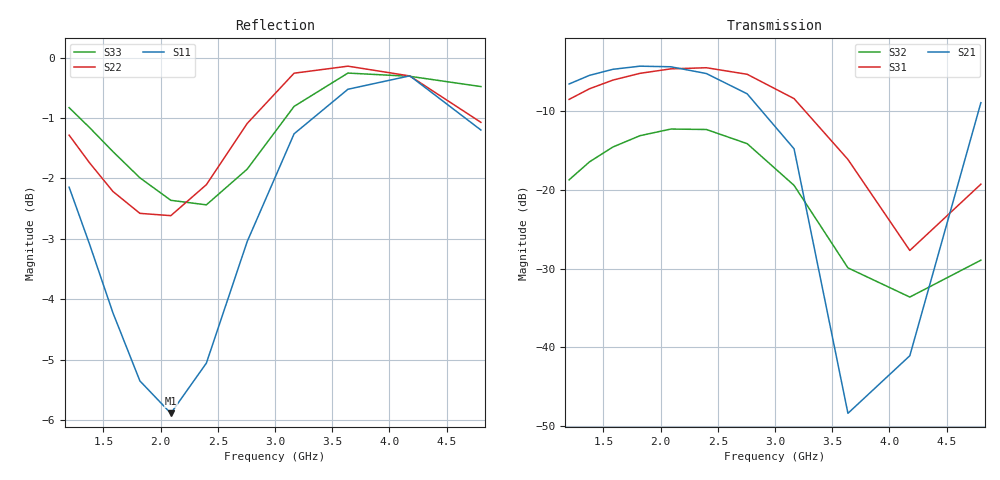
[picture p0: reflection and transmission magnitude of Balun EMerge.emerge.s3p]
! Generated by circuitRF - EM: EMerge
! circuitRF-EM setup: Balun EMerge
! circuitRF-EM layout: Balun.c3d
! circuitRF-EM written: 2026-11-15 23:48:30Z
! circuitRF-EM stamp: 20261115T234830Z-12be2866
! circuitRF-EM geometry: 35056368fe152479
! circuitRF-EM mesh settings: 72fb7a5ae77a5731
! circuitRF-EM ports: d404ed448d50c0b0
! circuitRF-EM model: EMerge 3.0.0
! Port[1] = P1
! Port[2] = P2
! Port[3] = P3
! circuitRF-EM port 1: 'port/1' from 'U1/Bottom Copper (1 oz)/1' to 'U1/Top Copper (1 oz)/3', lumped, 50 Ohm
! circuitRF-EM port 2: 'port/2' from 'U1/Bottom Copper (1 oz)/1' to 'U1/Top Copper (1 oz)/1', lumped, 50 Ohm
! circuitRF-EM port 3: 'port/3' from 'U1/Bottom Copper (1 oz)/1' to 'U1/Top Copper (1 oz)/2', lumped, 50 Ohm
! Port 1 = P01  P1  net=?  ref=U1/Bottom Copper (1 oz)/1  uncalibrated
! Port 2 = P02  P2  net=?  ref=U1/Bottom Copper (1 oz)/1  uncalibrated
! Port 3 = P03  P3  net=?  ref=U1/Bottom Copper (1 oz)/1  uncalibrated
! DC: none, the lowest row is 1.2 GHz; a circuit's DC solve through this file takes that row as DC
! circuitRF-EM 3D mesh: 30992 tetrahedra, element order 2
! circuitRF-EM 3D operating temperature: 20 C
! circuitRF-EM 3D run: preset Standard; 30992 tetrahedra; 212444 unknowns; adaptive sweep, 12 frequency sample(s), estimated error 4.76E-05
! circuitRF-EM 3D run cost: wall 108 s; EMerge peak memory 4.0 GB
! circuitRF-EM: re-running the EM setup rewrites this file. If circuitRF reports it as stale, the layout's cross-section changed after this file was written.
# GHz S RI R 50
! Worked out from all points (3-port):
!   11 points, 1.2 GHz to 4.8 GHz, reference 50 ohm
!   strongest paths, dB at 1.2 GHz, 1.583 GHz, 2.4 GHz, 3.638 GHz, 4.8 GHz:
!     S21: -6.5, -4.7, -5.2, -48.4, -8.9
!     S31: -8.5, -6.0, -4.5, -16.1, -19.3
!     S32: -18.7, -14.5, -12.3, -29.9, -28.9
!   lowest |S11| = -5.9 dB at 2.089 GHz (marker M1), VSWR 3.06, Z = 83.8 - j68.5 ohm
!   |S11| at or under -10 dB: nowhere
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1.2  -0.4789 0.6173  -0.4701 -0.0296  0.3757 0.0134
     -0.4701 -0.0297  0.4191 0.754  -0.00683 0.1156
     0.3757 0.0134  -0.00681 0.1156  0.448 0.7909
1.583409  0.3134 0.5291  -0.3929 0.4319  0.3195 -0.383
          -0.3931 0.4318  0.6953 0.3421  0.1405 0.1239
          0.3195 -0.3829  0.1406 0.1239  0.7687 0.3286
1.81886  0.5196 0.148  -0.1289 0.5974  0.0871 -0.5433
         -0.1291 0.5974  0.7384 0.0847  0.2173 0.0394
         0.0872 -0.5433  0.2174 0.0393  0.7951 0.0185
2.089321  0.4077 -0.303  0.2279 0.5613  -0.2559 -0.5291
          0.2277 0.5614  0.7137 -0.1956  0.2194 -0.1057
          -0.2558 -0.5291  0.2193 -0.1058  0.704 -0.2915
2.4  -0.0748 -0.5539  0.4867 0.2534  -0.5488 -0.2358
     0.4866 0.2537  0.5893 -0.5186  0.0873 -0.2256
     -0.5488 -0.2359  0.0873 -0.2257  0.5013 -0.5652
2.756876  -0.6772 -0.1942  0.3788 -0.1506  -0.4872 0.2392
          0.3789 -0.1504  0.2276 -0.8522  -0.1047 -0.1664
          -0.4872 0.2392  -0.1048 -0.1664  0.1591 -0.7928
3.166819  -0.5049 0.7021  0.032 -0.1796  -0.0389 0.3781
          0.0322 -0.1795  -0.4605 -0.8544  -0.106 0.0129
          -0.0389 0.3781  -0.106 0.0129  -0.4312 -0.8026
3.63772  0.5808 0.7408  0.00325 0.00187  0.1296 0.087
         0.00328 0.00191  -0.9587 -0.2202  -0.00585 0.0314
         0.1296 0.087  -0.00584 0.0314  -0.9453 -0.2211
4.178643  0.7877 -0.5587  -0.00218 0.00855  -0.0316 0.0265
          -0.0021 0.00857  -0.7497 0.6084  0.0146 0.0149
          -0.0315 0.0265  0.0146 0.0149  -0.7403 0.6188
4.8  -0.8499 -0.1908  0.2521 0.2542  0.0738 0.0798
     0.252 0.2543  0.1398 0.8728  0.0264 -0.0241
     0.0738 0.0797  0.0263 -0.0242  0.1048 0.9404
